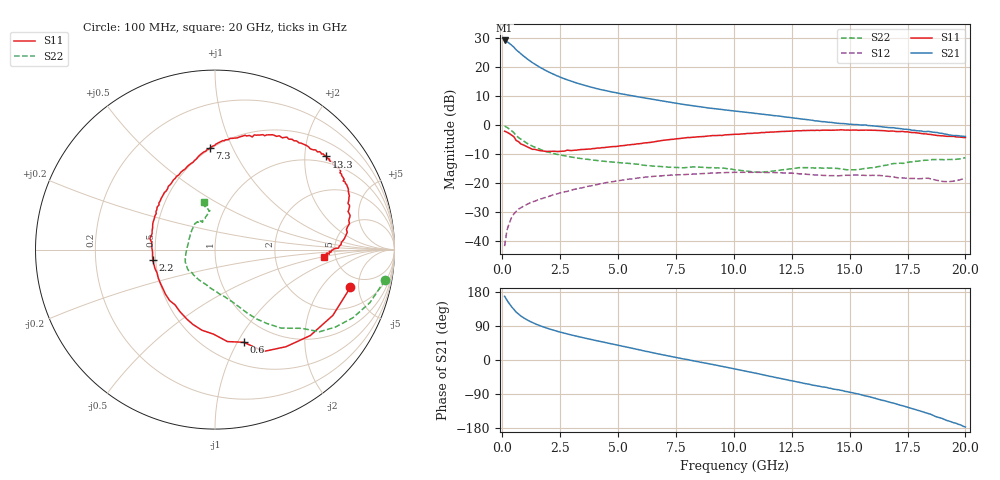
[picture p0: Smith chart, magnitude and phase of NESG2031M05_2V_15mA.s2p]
! NEC Compound Semiconductor Devices Ltd.
! 14. November 2002
! NESG2031M05
! NPN SiGe Transistor
! Vce = 2 V Ic = 15 mA
#  GHz  S  MA  R  50
!  f  S11  S21  S12  S22
!  GHz  MAG  ANG  MAG  ANG  MAG  ANG  MAG  ANG
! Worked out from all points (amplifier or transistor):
!   200 points, 100 MHz to 20 GHz, reference 50 ohm
!   highest |S21| = 29.3 dB at 100 MHz (marker M1)
!   |S21| within 3 dB of that: start of sweep to 574.2 MHz
!   unconditionally stable (mu >= 1): 2.467 GHz to end of sweep
!   at 3.4 GHz: K = 1.09, MAG = 16.1 dB, |S12| = -21.8 dB
!   at 10.1 GHz: K = 1.08, MAG = 8.9 dB, |S12| = -16.4 dB
!   at 20 GHz: K = 3.73, MAG = -1.5 dB, |S12| = -18.3 dB
!   S11 on the Smith chart (normalised r, x): 100 MHz: 3.68, -4.02; 600 MHz: 0.73, -1.06; 2.2 GHz: 0.48, -0.07; 7.3 GHz: 0.49, +0.82; 13.3 GHz: 0.84, +2.51; 20 GHz: 4.02, -0.50
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0.1  0.783 -15.6  29.17 168.2  0.008 82.0  0.963 -10.2
0.2  0.752 -29.2  27.79 158.0  0.015 72.1  0.912 -18.9
0.3  0.715 -42.1  26.09 148.8  0.02 67.2  0.857 -26.3
0.4  0.67 -53.9  24.23 140.7  0.025 62.4  0.798 -32.7
0.5  0.629 -64.5  22.34 133.5  0.029 59.1  0.741 -38.2
0.6  0.541 -72.7  20.09 126.4  0.032 55.0  0.652 -42.3
0.8  0.471 -91.0  17.12 116.2  0.037 51.3  0.57 -50.0
1  0.435 -106.4  14.77 108.3  0.041 49.3  0.504 -54.9
1.2  0.396 -119.9  12.86 101.7  0.045 49.0  0.453 -58.9
1.6  0.362 -143.5  10.14 91.2  0.052 48.6  0.384 -64.0
1.9  0.348 -158.6  8.702 84.5  0.056 48.9  0.348 -67.0
2.2  0.352 -170.2  7.615 78.7  0.062 48.9  0.323 -69.9
2.7  0.354 173.9  6.287 70.5  0.07 48.5  0.293 -74.2
3.5  0.378 154.8  4.93 58.8  0.083 47.6  0.26 -80.5
4.8  0.425 131.5  3.697 41.5  0.105 42.8  0.229 -90.5
6.8  0.532 99.4  2.661 15.2  0.132 30.6  0.192 -116.0
7.3  0.565 93.0  2.461 9.1  0.136 27.3  0.186 -126.2
10.1  0.694 67.3  1.734 -24.3  0.152 8.9  0.167 -167.5
13.3  0.809 39.9  1.217 -64.7  0.139 -18.0  0.181 122.1
13.4  0.809 39.0  1.209 -66.4  0.138 -18.8  0.182 121.3
16.7  0.784 19.2  0.903 -110.7  0.129 -55.7  0.207 100.9
20  0.607 -3.7  0.635 -176.9  0.122 -145.4  0.274 102.5
